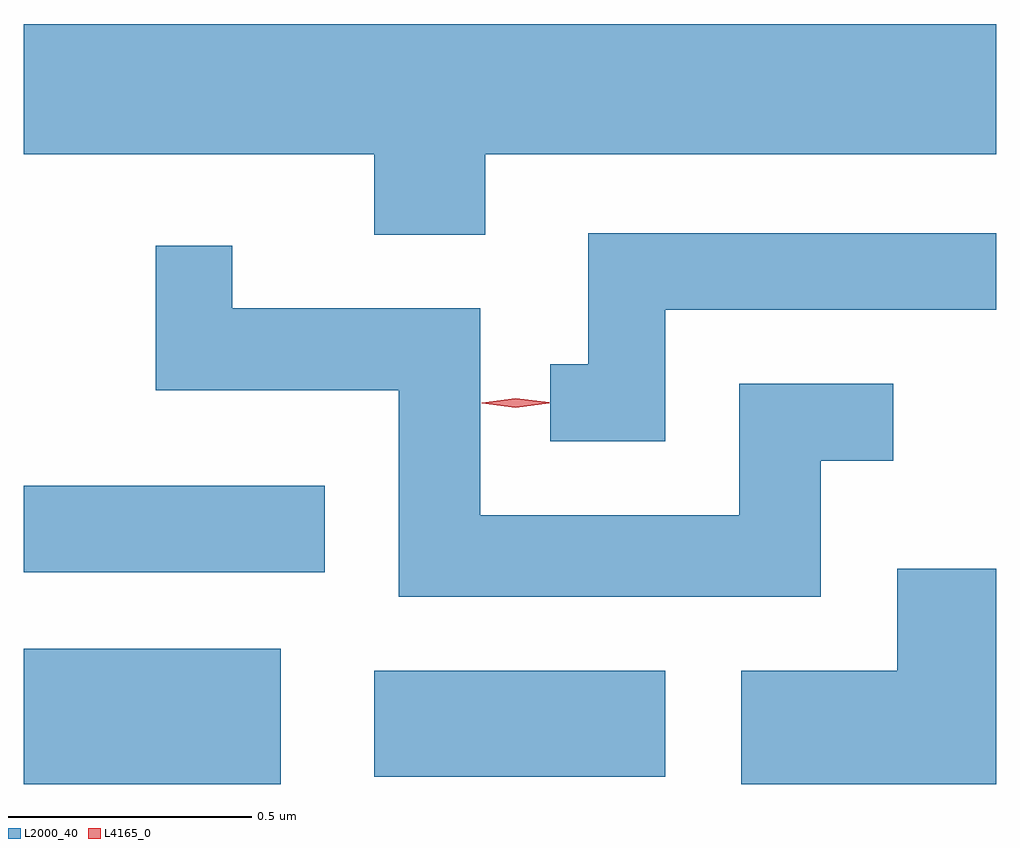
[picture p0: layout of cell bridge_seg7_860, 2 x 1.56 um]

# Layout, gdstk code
import gdstk
lib = gdstk.Library(unit=1e-6, precision=1e-09)
def R(c, l, rs):  # rectangles x0, y0, x1, y1
    for r in rs: c.add(gdstk.rectangle(r[:2], r[2:], *l))
def P(c, l, *ps):  # polygons
    for p in ps: c.add(gdstk.Polygon(p, *l))
L2000_40 = (2000, 40)
L4165_0 = (4165, 0)

bridge_seg7_860 = lib.new_cell('bridge_seg7_860')
R(bridge_seg7_860, L2000_40, [(408.04,1748.541,408.569,1748.819), (408.761,1748.556,409.359,1748.774), (408.04,1748.976,408.659,1749.154)])
P(bridge_seg7_860, L2000_40, [(408.989,1749.836),(410.04,1749.836),(410.04,1750.104),(408.04,1750.104),(408.04,1749.836),(408.761,1749.836),(408.761,1749.671),(408.989,1749.671)],
  [(409.359,1749.516),(410.04,1749.516),(410.04,1749.674),(409.201,1749.674),(409.201,1749.404),(409.123,1749.404),(409.123,1749.246),(409.359,1749.246)],
  [(409.679,1749.206),(409.828,1749.206),(409.828,1749.364),(409.511,1749.364),(409.511,1749.094),(408.979,1749.094),(408.979,1749.519),(408.469,1749.519),(408.469,1749.648),(408.311,1749.648),(408.311,1749.351),(408.811,1749.351),(408.811,1748.926),(409.679,1748.926)],
  [(410.04,1748.984),(409.836,1748.984),(409.836,1748.774),(409.516,1748.774),(409.516,1748.541),(410.04,1748.541)])
P(bridge_seg7_860, L4165_0, [(409.052,1749.315),(408.982,1749.324),(408.982,1749.324),(408.982,1749.325),(409.052,1749.334),(409.121,1749.326),(409.121,1749.325),(409.121,1749.324)])

lib.write_gds('bridge_seg7_860.gds')
